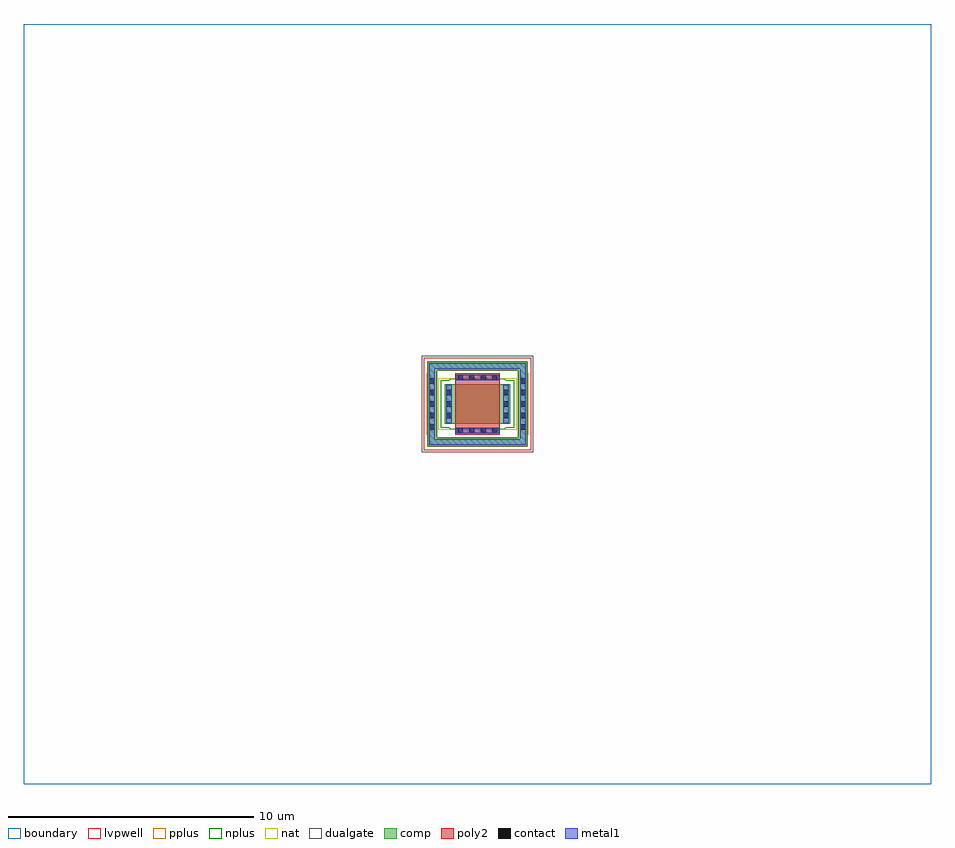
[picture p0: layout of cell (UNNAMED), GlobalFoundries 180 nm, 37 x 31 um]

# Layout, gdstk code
import gdstk
lib = gdstk.Library(unit=1e-6, precision=1e-09)
def R(c, l, rs):  # rectangles x0, y0, x1, y1
    for r in rs: c.add(gdstk.rectangle(r[:2], r[2:], *l))
def A(c, l, x, y, w, h, nx, ny, dx, dy):  # array of equal rectangles
    R(c, l, [(x+i*dx, y+j*dy, x+i*dx+w, y+j*dy+h) for i in range(nx) for j in range(ny)])
boundary = (0, 0)
nat = (5, 0)
comp = (22, 0)
poly2 = (30, 0)
pplus = (31, 0)
nplus = (32, 0)
contact = (33, 0)
metal1 = (34, 0)
dualgate = (55, 0)
lvpwell = (204, 0)

c__unnamed_ = lib.new_cell('(UNNAMED)')
R(c__unnamed_, boundary, [(-18.5,-15.5,18.5,15.5)])
R(c__unnamed_, nat, [(-1.6,-1.06,1.6,1.06)])
R(c__unnamed_, comp, [(-2.03,-1.73,2.03,-1.37), (-2.03,-1.37,-1.67,1.37), (1.67,-1.37,2.03,1.37), (-1.34,-0.8,1.34,0.8), (-2.03,1.37,2.03,1.73)])
R(c__unnamed_, poly2, [(-0.9,-1.26,0.9,1.26)])
R(c__unnamed_, pplus, [(-2.05,-1.75,2.05,-1.35), (-2.05,-1.35,-1.64,-1.245), (1.64,-1.35,2.05,-1.245), (-2.06,-1.245,-1.64,1.245), (1.64,-1.245,2.06,1.245), (-2.05,1.245,-1.64,1.35), (1.64,1.245,2.05,1.35), (-2.05,1.35,2.05,1.75)])
R(c__unnamed_, nplus, [(-1.13,-1.03,1.13,-0.96), (-1.5,-0.96,1.5,0.96), (-1.13,0.96,1.13,1.03)])
A(c__unnamed_, contact, -0.815, -1.19, 0.22, 0.22, 4, 2, 0.47, 2.16)
A(c__unnamed_, contact, -1.96, -1.05, 0.22, 0.22, 1, 5, 0, 0.47)
A(c__unnamed_, contact, 1.74, -1.05, 0.22, 0.22, 1, 5, 0, 0.47)
A(c__unnamed_, contact, -1.27, -0.58, 0.22, 0.22, 1, 3, 0, 0.47)
A(c__unnamed_, contact, 1.05, -0.58, 0.22, 0.22, 1, 3, 0, 0.47)
R(c__unnamed_, metal1, [(-1.965,-1.665,1.965,-1.435), (-1.965,-1.435,-1.735,1.435), (1.735,-1.435,1.965,1.435), (-0.89,-1.195,0.89,-0.965), (-1.275,-0.79,-1.045,0.79), (1.045,-0.79,1.275,0.79), (-0.89,0.965,0.89,1.195), (-1.965,1.435,1.965,1.665)])
R(c__unnamed_, dualgate, [(-2.27,-1.97,2.27,1.97)])
R(c__unnamed_, lvpwell, [(-2.19,-1.89,2.19,1.89)])

lib.write_gds('_UNNAMED_.gds')
